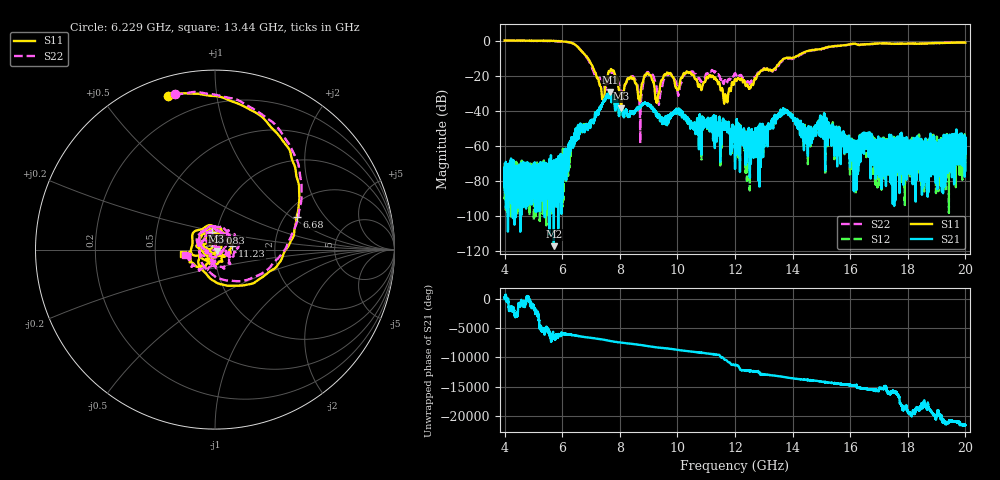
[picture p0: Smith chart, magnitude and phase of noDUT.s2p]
[Version] 2.0
! Rohde & Schwarz Vector Network Analyzer
! Rohde-Schwarz,ZNL20-2Port,1323001220200009,1.71.1.10-23.02.1.238
! Port Assignments:
! Nominal Port -> Actual Test Port
!  1 -> 1
!  2 -> 2
! Created: GMT+2 2025-01-16 20:30:50
# Hz S RI R 50
[Number of Ports] 2
[Two-Port Data Order] 21_12
! freq[Hz]  S11[Re]  S11[Im]  S21[Re]  S21[Im]  S12[Re]  S12[Im]  S22[Re]  S22[Im]
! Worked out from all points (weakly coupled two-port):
!   16001 points, 4 GHz to 20 GHz, reference 50 ohm
!   highest |S21| = -29.39 dB at 7.66 GHz (marker M1); lowest = -117.4 dB at 5.709 GHz (marker M2)
!   lowest |S11| = -38.6 dB at 8.045 GHz (marker M3), VSWR 1.02, Z = 50.9 - j0.809 ohm
!   |S11| at or under -10 dB: 6.883 GHz to 13.77 GHz (6.889 GHz wide, 66.7 % of centre); 13.83677 GHz to 13.86482 GHz (28.05 MHz wide, 0.203 % of centre); 13.93111 GHz to 13.97695 GHz (45.83 MHz wide, 0.328 % of centre) (the widest 3 of 4)
!   |S22| runs from -58.7 to 0.0 dB; largest |S21 - S12| = 0.0025
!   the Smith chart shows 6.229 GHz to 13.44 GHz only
!   S11 on the Smith chart (normalised r, x): 6.229 GHz: 0.09, +0.73; 6.68 GHz: 2.31, +1.09; 9.083 GHz: 0.95, +0.18; 11.23 GHz: 1.21, +0.05; 13.44 GHz: 0.70, -0.04
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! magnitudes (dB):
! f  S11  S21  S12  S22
! 4 GHz  0.0  -85.1  -82.3  -0.2
! 5.709 GHz  -0.1  -117.4  -78.1  -0.3
! 6.229 GHz  -1.0  -63.4  -61.7  -1.0
! 6.667 GHz  -6.0  -48.9  -48.2  -6.0
! 6.68 GHz  -6.2  -49.7  -49.3  -6.2
! 7.402 GHz  -33.1  -36.0  -36.1  -23.0
! 7.66 GHz  -17.4  -29.4  -29.4  -19.6
! 8.045 GHz  -38.6  -38.2  -38.3  -29.6
! 8.435 GHz  -22.0  -41.4  -41.3  -20.6
! 8.714 GHz  -33.5  -38.1  -38.2  -48.3
! 9.083 GHz  -20.3  -38.3  -38.2  -18.5
! 9.334 GHz  -31.1  -42.6  -42.6  -34.1
! 9.612 GHz  -19.3  -44.1  -43.9  -20.0
! 11.23 GHz  -20.3  -46.3  -46.1  -17.3
! 11.67 GHz  -31.1  -47.2  -47.0  -23.6
! 12 GHz  -22.1  -71.1  -67.0  -18.6
! 12.58 GHz  -25.2  -50.8  -52.1  -23.3
! 13.44 GHz  -14.9  -43.9  -44.1  -15.3
! 14.67 GHz  -5.4  -56.3  -57.3  -5.6
! 15.04 GHz  -4.5  -46.2  -46.9  -4.7
! 17.33 GHz  -1.8  -75.0  -71.3  -1.7
! 20 GHz  -1.2  -74.3  -67.5  -1.1
